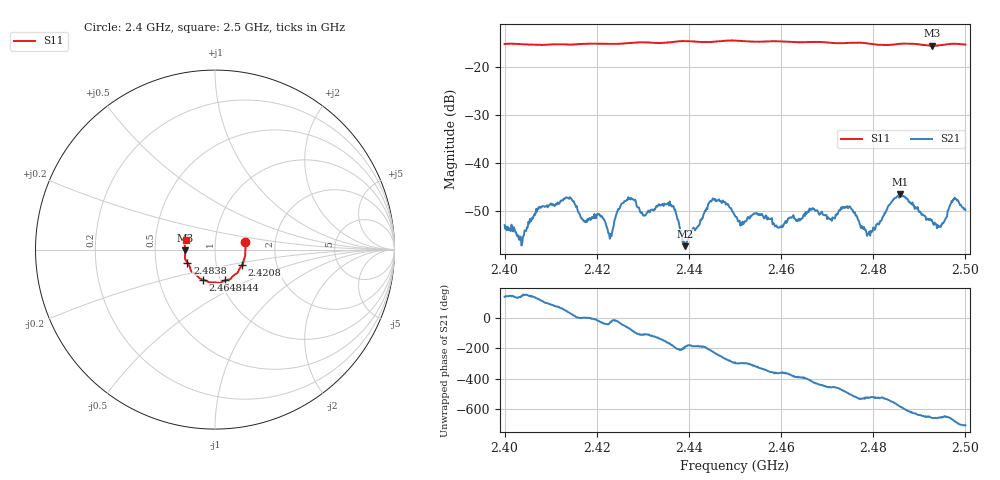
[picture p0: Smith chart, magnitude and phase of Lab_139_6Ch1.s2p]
# Hz S RI R 50
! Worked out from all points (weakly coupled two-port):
!   601 points, 2.4 GHz to 2.5 GHz, reference 50 ohm
!   highest |S21| = -46.58 dB at 2.4858 GHz (marker M1); lowest = -57.4 dB at 2.4392 GHz (marker M2)
!   lowest |S11| = -15.6 dB at 2.4928 GHz (marker M3), VSWR 1.40, Z = 35.8 - j0.348 ohm
!   |S11| at or under -10 dB: start of sweep to end of sweep
!   S12 and S22 are empty: the file has one direction only
!   S11 on the Smith chart (normalised r, x): 2.4 GHz: 1.40, +0.12; 2.4208 GHz: 1.33, -0.24; 2.444 GHz: 1.06, -0.37; 2.4648 GHz: 0.83, -0.29; 2.4838 GHz: 0.73, -0.11; 2.5 GHz: 0.72, +0.08
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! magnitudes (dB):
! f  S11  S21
! 2.4 GHz  -15.3  -53.0
! 2.4037 GHz  -15.3  -57.2
! 2.4073 GHz  -15.4  -49.6
! 2.4137 GHz  -15.4  -47.3
! 2.4167 GHz  -15.2  -51.5
! 2.4208 GHz  -15.2  -51.2
! 2.423 GHz  -15.2  -54.8
! 2.4265 GHz  -15.1  -47.7
! 2.4333 GHz  -15.0  -48.8
! 2.4363 GHz  -14.9  -49.1
! 2.4392 GHz  -14.6  -57.4
! 2.444 GHz  -14.9  -49.6
! 2.45 GHz  -14.5  -51.0
! 2.4648 GHz  -14.9  -50.9
! 2.4667 GHz  -14.8  -49.8
! 2.4748 GHz  -15.0  -49.0
! 2.479 GHz  -15.2  -54.7
! 2.4833 GHz  -15.5  -48.9
! 2.4838 GHz  -15.4  -48.3
! 2.4858 GHz  -15.2  -46.6
! 2.4928 GHz  -15.6  -52.2
! 2.5 GHz  -15.4  -49.8
